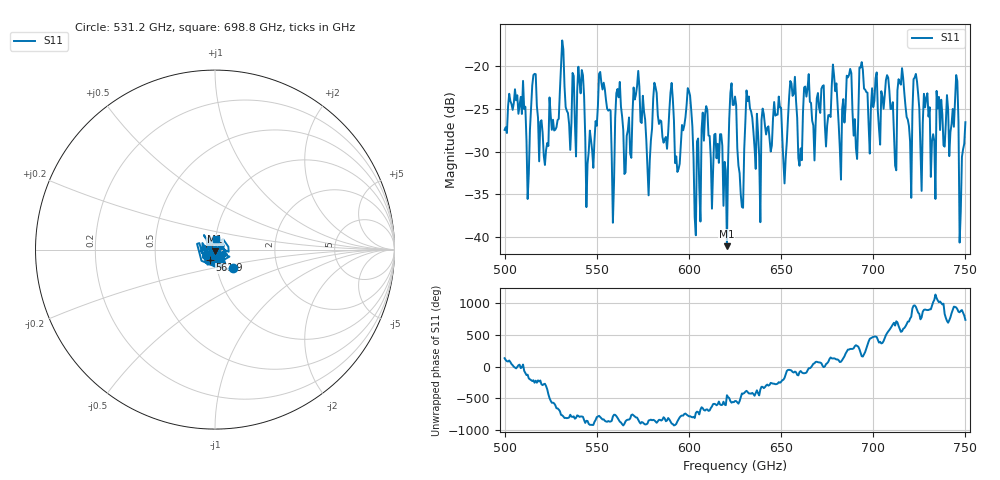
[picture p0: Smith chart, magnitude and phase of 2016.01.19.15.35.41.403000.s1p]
!Created with skrf (http://scikit-rf.org).
# GHz S RI R 50.0
!freq ReS11 ImS11
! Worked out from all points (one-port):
!   401 points, 500 GHz to 750 GHz, reference 50 ohm
!   lowest |S11| = -41.0 dB at 620.6 GHz (marker M1), VSWR 1.02, Z = 50 - j0.888 ohm
!   |S11| at or under -10 dB: start of sweep to end of sweep
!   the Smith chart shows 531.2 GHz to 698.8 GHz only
!   S11 on the Smith chart (normalised r, x): 531.2 GHz: 1.19, -0.24; 561.9 GHz: 0.94, -0.11; 698.8 GHz: 1.00, +0.12
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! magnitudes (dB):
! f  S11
! 500 GHz  -27.5
! 513.1 GHz  -32.6
! 516.2 GHz  -20.9
! 522.5 GHz  -29.8
! 531.2 GHz  -17.0
! 535 GHz  -26.8
! 541.2 GHz  -23.2
! 545.6 GHz  -30.1
! 561.9 GHz  -23.7
! 562.5 GHz  -21.9
! 578.1 GHz  -35.1
! 590.6 GHz  -22.0
! 593.8 GHz  -32.4
! 600 GHz  -22.9
! 604.4 GHz  -28.8
! 608.8 GHz  -25.7
! 620.6 GHz  -41.0
! 625 GHz  -23.6
! 628.1 GHz  -35.0
! 631.9 GHz  -24.1
! 651.9 GHz  -33.7
! 656.2 GHz  -23.5
! 660 GHz  -31.7
! 663.8 GHz  -23.6
! 687.5 GHz  -20.4
! 698.8 GHz  -24.8
! 718.8 GHz  -26.3
! 750 GHz  -26.6
